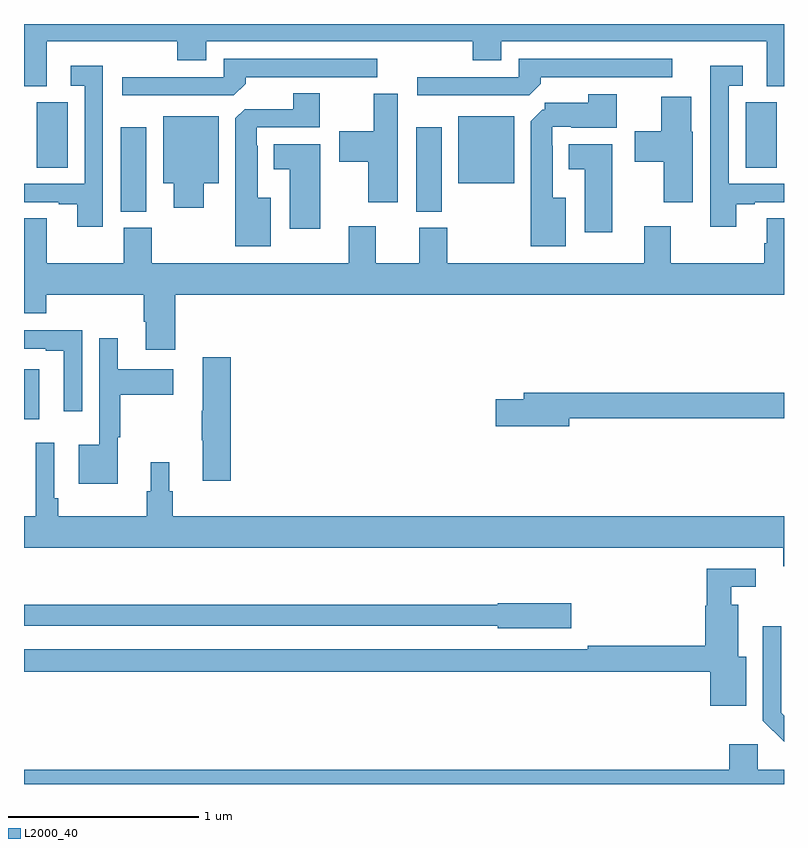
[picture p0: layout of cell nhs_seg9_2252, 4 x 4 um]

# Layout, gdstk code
import gdstk
lib = gdstk.Library(unit=1e-6, precision=1e-09)
def R(c, l, rs):  # rectangles x0, y0, x1, y1
    for r in rs: c.add(gdstk.rectangle(r[:2], r[2:], *l))
def P(c, l, *ps):  # polygons
    for p in ps: c.add(gdstk.Polygon(p, *l))
L2000_40 = (2000, 40)

nhs_seg9_2252 = lib.new_cell('nhs_seg9_2252')
R(nhs_seg9_2252, L2000_40, [(239,1206.419,239.08,1206.682), (239.51,1207.513,239.644,1207.957), (241.064,1207.513,241.198,1207.957), (241.286,1207.661,241.579,1208.014), (239.066,1207.744,239.23,1208.088), (242.798,1207.744,242.962,1208.088)])
P(nhs_seg9_2252, L2000_40, [(239.119,1208.408),(239.807,1208.408),(239.807,1208.309),(239.959,1208.309),(239.959,1208.408),(241.361,1208.408),(241.361,1208.309),(241.513,1208.309),(241.513,1208.408),(242.909,1208.408),(242.909,1208.173),(243,1208.173),(243,1208.5),(239,1208.5),(239,1208.173),(239.119,1208.173)],
  [(241.721,1208.186),(241.721,1208.22),(242.413,1208.22),(242.413,1208.316),(241.605,1208.316),(241.605,1208.22),(241.071,1208.22),(241.071,1208.124),(241.659,1208.124)],
  [(240.167,1208.186),(240.167,1208.22),(240.859,1208.22),(240.859,1208.316),(240.051,1208.316),(240.051,1208.22),(239.517,1208.22),(239.517,1208.124),(240.105,1208.124)],
  [(242.749,1207.551),(242.845,1207.551),(242.845,1207.563),(243,1207.563),(243,1207.659),(242.709,1207.659),(242.709,1208.175),(242.782,1208.175),(242.782,1208.281),(242.613,1208.281),(242.613,1207.434),(242.749,1207.434)],
  [(239.415,1208.281),(239.247,1208.281),(239.247,1208.175),(239.319,1208.175),(239.319,1207.659),(239,1207.659),(239,1207.563),(239.183,1207.563),(239.183,1207.551),(239.279,1207.551),(239.279,1207.434),(239.415,1207.434)],
  [(240.298,1207.585),(240.229,1207.585),(240.229,1207.859),(240.225,1207.859),(240.225,1207.956),(240.556,1207.956),(240.556,1208.135),(240.416,1208.135),(240.416,1208.052),(240.162,1208.052),(240.113,1208.003),(240.113,1207.331),(240.298,1207.331)],
  [(240.967,1208.134),(240.842,1208.134),(240.842,1207.936),(240.66,1207.936),(240.66,1207.774),(240.812,1207.774),(240.812,1207.563),(240.967,1207.563)],
  [(241.852,1207.585),(241.783,1207.585),(241.783,1207.859),(241.779,1207.859),(241.779,1207.959),(241.879,1207.959),(241.879,1207.955),(242.119,1207.955),(242.119,1208.131),(241.97,1208.131),(241.97,1208.085),(241.74,1208.085),(241.74,1208.049),(241.727,1208.049),(241.667,1207.989),(241.667,1207.331),(241.852,1207.331)],
  [(242.521,1207.932),(242.512,1207.932),(242.512,1208.116),(242.354,1208.116),(242.354,1207.936),(242.214,1207.936),(242.214,1207.774),(242.366,1207.774),(242.366,1207.563),(242.521,1207.563)],
  [(239.947,1207.661),(240.025,1207.661),(240.025,1208.014),(239.732,1208.014),(239.732,1207.661),(239.789,1207.661),(239.789,1207.533),(239.947,1207.533)],
  [(240.559,1207.867),(240.314,1207.867),(240.314,1207.736),(240.398,1207.736),(240.398,1207.422),(240.559,1207.422)],
  [(242.095,1207.867),(241.868,1207.867),(241.868,1207.736),(241.952,1207.736),(241.952,1207.404),(242.095,1207.404)],
  [(239.795,1207.076),(243,1207.076),(243,1207.478),(242.909,1207.478),(242.909,1207.346),(242.897,1207.346),(242.897,1207.24),(242.404,1207.24),(242.404,1207.435),(242.264,1207.435),(242.264,1207.24),(241.227,1207.24),(241.227,1207.428),(241.079,1207.428),(241.079,1207.24),(240.85,1207.24),(240.85,1207.435),(240.71,1207.435),(240.71,1207.24),(239.673,1207.24),(239.673,1207.428),(239.525,1207.428),(239.525,1207.24),(239.119,1207.24),(239.119,1207.478),(239,1207.478),(239,1206.978),(239.117,1206.978),(239.117,1207.076),(239.63,1207.076),(239.63,1206.934),(239.642,1206.934),(239.642,1206.786),(239.795,1206.786)],
  [(239.307,1206.888),(239,1206.888),(239,1206.792),(239.114,1206.792),(239.114,1206.78),(239.21,1206.78),(239.21,1206.462),(239.307,1206.462)],
  [(239.494,1206.324),(239.506,1206.324),(239.506,1206.548),(239.785,1206.548),(239.785,1206.682),(239.494,1206.682),(239.494,1206.847),(239.397,1206.847),(239.397,1206.286),(239.288,1206.286),(239.288,1206.08),(239.494,1206.08)],
  [(240.089,1206.745),(239.942,1206.745),(239.942,1206.464),(239.935,1206.464),(239.935,1206.308),(239.942,1206.308),(239.942,1206.096),(240.089,1206.096)],
  [(241.87,1206.424),(243,1206.424),(243,1206.56),(241.631,1206.56),(241.631,1206.524),(241.482,1206.524),(241.482,1206.382),(241.87,1206.382)],
  [(243,1205.908),(239.783,1205.908),(239.783,1206.042),(239.764,1206.042),(239.764,1206.193),(239.666,1206.193),(239.666,1206.042),(239.647,1206.042),(239.647,1205.908),(239.18,1205.908),(239.18,1206.004),(239.16,1206.004),(239.16,1206.295),(239.063,1206.295),(239.063,1205.908),(239,1205.908),(239,1205.744),(242.996,1205.744),(242.996,1205.646),(243,1205.646)],
  [(242.8,1205.17),(242.758,1205.17),(242.758,1205.443),(242.722,1205.443),(242.722,1205.538),(242.851,1205.538),(242.851,1205.634),(242.593,1205.634),(242.593,1205.439),(242.585,1205.439),(242.585,1205.228),(241.966,1205.228),(241.966,1205.208),(239,1205.208),(239,1205.092),(242.612,1205.092),(242.612,1204.913),(242.8,1204.913)],
  [(241.879,1205.451),(241.494,1205.451),(241.494,1205.443),(239,1205.443),(239,1205.334),(241.494,1205.334),(241.494,1205.321),(241.879,1205.321)],
  [(243,1204.86),(242.985,1204.875),(242.985,1205.329),(242.889,1205.329),(242.889,1204.833),(243,1204.722)],
  [(243,1204.576),(242.862,1204.576),(242.862,1204.708),(242.711,1204.708),(242.711,1204.576),(239,1204.576),(239,1204.5),(243,1204.5)])

lib.write_gds('nhs_seg9_2252.gds')
